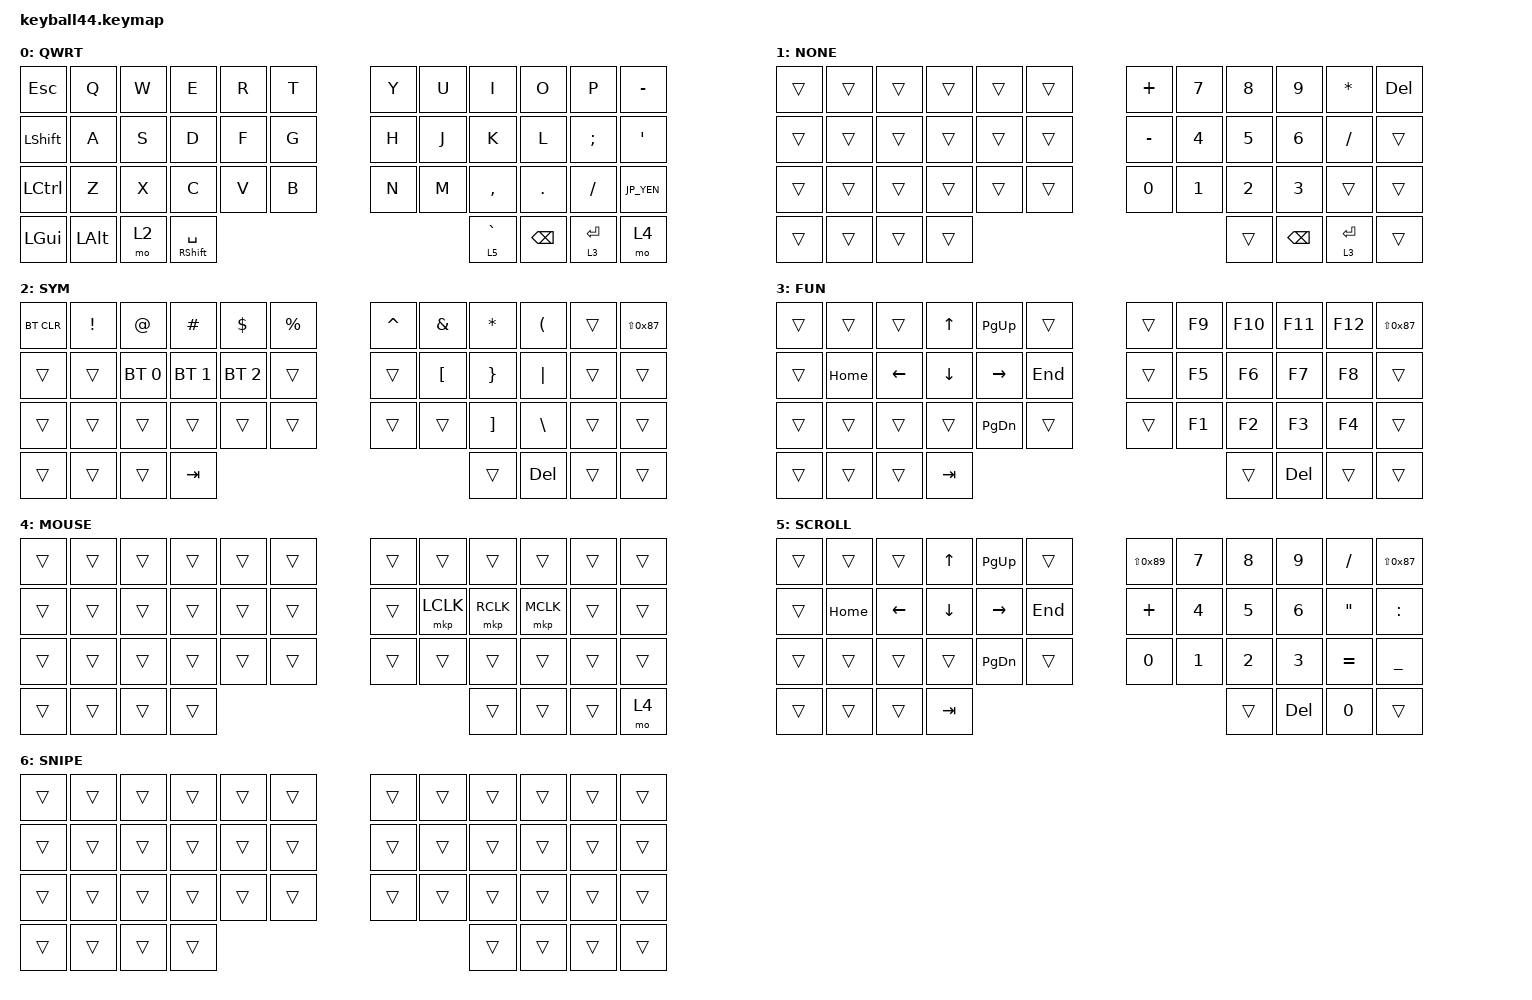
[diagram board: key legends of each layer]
#define DEFAULT 0
#define NUM     1
#define SYM     2
#define FUN     3
#define MOUSE   4
#define SCROLL  5
#define SNIPE   6

// OS設定を日本語キーボードのまま使用するための変換定義

#define JP_DQUOTE       AT                // "
#define JP_AMPERSAND    CARET             // &
#define JP_QUOTE        AMPERSAND         // '
#define JP_EQUAL        UNDER             // =
#define JP_CARET        EQUAL             // ^
#define JP_YEN          0x89              // ¥
#define JP_PLUS         COLON             // +
#define JP_TILDE        PLUS              // ~
#define JP_PIPE         LS(0x89)          // |
#define JP_AT           LEFT_BRACKET      // @
#define JP_COLON        SINGLE_QUOTE      // :
#define JP_ASTERISK     DOUBLE_QUOTES     // *
#define JP_BACKQUOTE    LEFT_BRACE        // `
#define JP_UNDERSCORE   LS(0x87)          // _
#define JP_LBRACKET     RIGHT_BRACKET     // [
#define JP_RBRACKET     BACKSLASH         // ]
#define JP_LPAREN       ASTERISK          // (
#define JP_RPAREN       LEFT_PARENTHESIS  // )
#define JP_LBRACE       RIGHT_BRACE       // {
#define JP_RBRACE       PIPE              // }
#define JP_KANA         LANGUAGE_1        // かな
#define JP_EISU         LANGUAGE_2        // 英数
#define JP_HANZEN       GRAVE             // 半角/全角

#include <behaviors/mouse_keys.dtsi>
#include <dt-bindings/zmk/mouse.h>
#include <behaviors.dtsi>
#include <dt-bindings/zmk/bt.h>
#include <dt-bindings/zmk/keys.h>
#include <dt-bindings/zmk/pointing.h>

&lt {
    tapping-term-ms = <240>;
    flavor = "balanced";
    quick-tap-ms = <150>;
};

&mt {
    tapping-term-ms = <200>;
    flavor = "tap-preferred";
    quick-tap-ms = <150>;
};

&caps_word { continue-list = <UNDERSCORE MINUS>; };

/ {
    // custom shift using mod-morph 

    behaviors {
        cmqus: comma_question {
            compatible = "zmk,behavior-mod-morph";
            label = "COMMA_QUESTION";
            #binding-cells = <0>;
            bindings = <&kp COMMA>, <&kp QUESTION>;

            mods = <(MOD_LSFT|MOD_RSFT)>;
        };

        dtsmi: dot_semi {
            compatible = "zmk,behavior-mod-morph";
            label = "DOT_SEMI";
            #binding-cells = <0>;
            bindings = <&kp DOT>, <&kp SEMI>;

            mods = <(MOD_LSFT|MOD_RSFT)>;
        };
    };

    keymap {
        compatible = "zmk,keymap";

        default_layer {
            label = "QWRT";
            bindings = <
&kp ESCAPE      &kp Q     &kp W  &kp E            &kp R        &kp T                     &kp Y        &kp U  &kp I      &kp O    &kp P          &kp MINUS
&kp LEFT_SHIFT  &kp A     &kp S  &kp D            &kp F        &kp G                     &kp H        &kp J  &kp K      &kp L    &kp SEMICOLON  &kp JP_COLON
&kp LCTRL       &kp Z     &kp X  &kp C            &kp V        &kp B                     &kp N        &kp M  &kp COMMA  &kp DOT  &kp SLASH      &kp JP_YEN
&kp LGUI        &kp LALT  &mo 2  &mt RSHFT SPACE  &lt 5 GRAVE             &kp BACKSPACE  &lt 3 ENTER                                            &mo 4
            >;
        };

        NOTHING {
            label = "NONE";
            bindings = <
&trans  &trans  &trans  &trans  &trans  &trans                     &kp PLUS     &kp NUMBER_7  &kp NUMBER_8  &kp NUMBER_9  &kp ASTERISK  &kp DEL
&trans  &trans  &trans  &trans  &trans  &trans                     &kp MINUS    &kp N4        &kp N5        &kp N6        &kp SLASH     &trans
&trans  &trans  &trans  &trans  &trans  &trans                     &kp N0       &kp N1        &kp N2        &kp N3        &trans        &trans
&trans  &trans  &trans  &trans  &trans              &kp BACKSPACE  &lt 3 ENTER                                                          &trans
            >;
        };

        symbol_layer {
            label = "SYM";
            bindings = <
&bt BT_CLR  &kp EXCLAMATION  &kp JP_DQUOTE  &kp HASH      &kp DOLLAR    &kp PERCENT                  &kp JP_AMPERSAND  &kp JP_QUOTE  &kp JP_LPAREN    &kp JP_RPAREN    &trans  &kp JP_UNDERSCORE
&trans      &trans           &bt BT_SEL 0   &bt BT_SEL 1  &bt BT_SEL 2  &trans                       &trans            &kp JP_AT     &kp JP_LBRACE    &kp JP_RBRACE    &trans  &trans
&trans      &trans           &trans         &trans        &trans        &trans                       &trans            &trans        &kp JP_LBRACKET  &kp JP_RBRACKET  &trans  &trans
&trans      &trans           &trans         &kp TAB       &trans                         &kp DELETE  &trans                                                                    &trans
            >;
        };

        function_layer {
            label = "FUN";
            bindings = <
&trans  &trans    &trans          &kp UP_ARROW    &kp PG_UP        &trans                   &trans  &kp F9  &kp F10  &kp F11  &kp F12  &kp JP_UNDERSCORE
&trans  &kp HOME  &kp LEFT_ARROW  &kp DOWN_ARROW  &kp RIGHT_ARROW  &kp END                  &trans  &kp F5  &kp F6   &kp F7   &kp F8   &trans
&trans  &trans    &trans          &trans          &kp PG_DN        &trans                   &trans  &kp F1  &kp F2   &kp F3   &kp F4   &trans
&trans  &trans    &trans          &kp TAB         &trans                        &kp DELETE  &trans                                     &trans
            >;
        };

        mouse_layer {
            label = "MOUSE";
            bindings = <
&trans  &trans  &trans  &trans  &trans  &trans              &trans  &trans     &trans     &trans     &trans  &trans
&trans  &trans  &trans  &trans  &trans  &trans              &trans  &mkp LCLK  &mkp RCLK  &mkp MCLK  &trans  &trans
&trans  &trans  &trans  &trans  &trans  &trans              &trans  &trans     &trans     &trans     &trans  &trans
&trans  &trans  &trans  &trans  &trans              &trans  &trans                                           &mo 4
            >;
        };

        scroll_layer {
            label = "SCROLL";
            bindings = <
&trans  &trans    &trans          &kp UP_ARROW    &kp PG_UP        &trans                   &kp JP_PIPE   &kp N7  &kp N8  &kp N9  &kp SLASH        &kp JP_UNDERSCORE
&trans  &kp HOME  &kp LEFT_ARROW  &kp DOWN_ARROW  &kp RIGHT_ARROW  &kp END                  &kp JP_TILDE  &kp N4  &kp N5  &kp N6  &kp JP_ASTERISK  &kp JP_PLUS
&trans  &trans    &trans          &trans          &kp PG_DN        &trans                   &kp N0        &kp N1  &kp N2  &kp N3  &kp JP_CARET     &kp JP_EQUAL
&trans  &trans    &trans          &kp TAB         &trans                        &kp DELETE  &kp N0                                                 &trans
            >;
        };

        snipe_layer {
            label = "SNIPE";
            bindings = <
&trans  &trans  &trans  &trans  &trans  &trans              &trans  &trans  &trans  &trans  &trans  &trans
&trans  &trans  &trans  &trans  &trans  &trans              &trans  &trans  &trans  &trans  &trans  &trans
&trans  &trans  &trans  &trans  &trans  &trans              &trans  &trans  &trans  &trans  &trans  &trans
&trans  &trans  &trans  &trans  &trans              &trans  &trans                                  &trans
            >;
        };
    };
};
